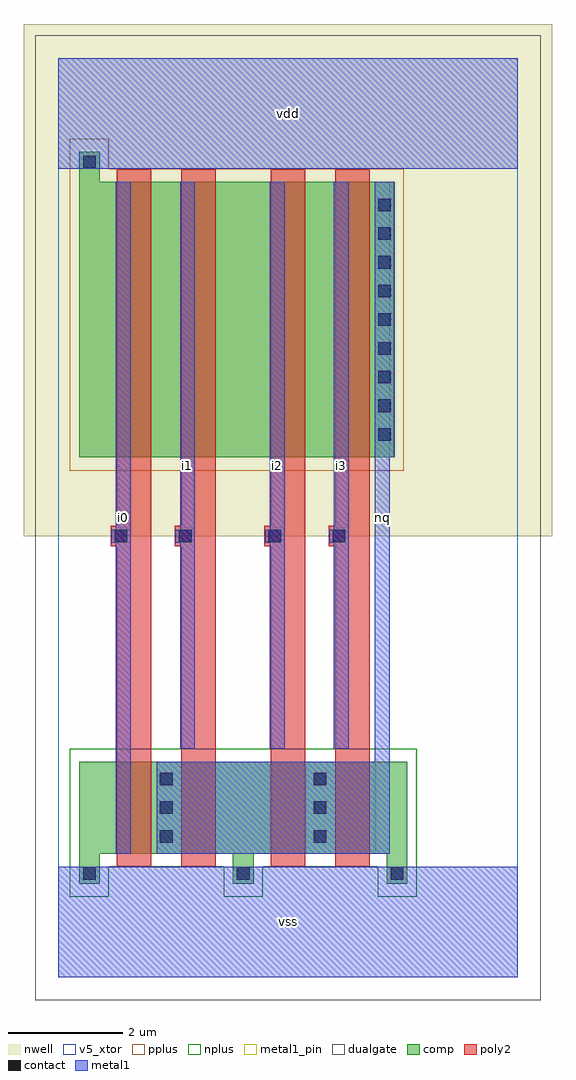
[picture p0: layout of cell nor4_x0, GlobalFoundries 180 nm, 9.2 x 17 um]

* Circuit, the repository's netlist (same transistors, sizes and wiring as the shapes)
* nor4_x0
.subckt nor4_x0 vdd vss nq i0 i1 i2 i3
Mn0 vss i0 nq vss nfet_06v0 l=0.6um w=1.6um
Mp0 vdd i0 int0 vdd pfet_06v0 l=0.6um w=4.8um
Mn1 nq i1 vss vss nfet_06v0 l=0.6um w=1.6um
Mp1 int0 i1 int1 vdd pfet_06v0 l=0.6um w=4.8um
Mn2 vss i2 nq vss nfet_06v0 l=0.6um w=1.6um
Mp2 int1 i2 int2 vdd pfet_06v0 l=0.6um w=4.8um
Mn3 nq i3 vss vss nfet_06v0 l=0.6um w=1.6um
Mp3 int2 i3 nq vdd pfet_06v0 l=0.6um w=4.8um
.ends nor4_x0

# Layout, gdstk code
import gdstk
lib = gdstk.Library(unit=1e-6, precision=1e-09)
def R(c, l, rs):  # rectangles x0, y0, x1, y1
    for r in rs: c.add(gdstk.rectangle(r[:2], r[2:], *l))
def A(c, l, x, y, w, h, nx, ny, dx, dy):  # array of equal rectangles
    R(c, l, [(x+i*dx, y+j*dy, x+i*dx+w, y+j*dy+h) for i in range(nx) for j in range(ny)])
def P(c, l, *ps):  # polygons
    for p in ps: c.add(gdstk.Polygon(p, *l))
nwell = (21, 0)
comp = (22, 0)
poly2 = (30, 0)
pplus = (31, 0)
nplus = (32, 0)
contact = (33, 0)
metal1 = (34, 0)
metal1_pin = (34, 10)
dualgate = (55, 0)
v5_xtor = (112, 1)

nor4_x0 = lib.new_cell('nor4_x0')
R(nor4_x0, nwell, [(-0.6,7.68,8.6,16.6)])
P(nor4_x0, comp, [(0.36,1.625),(0.36,3.75),(6.08,3.75),(6.08,1.625),(5.72,1.625),(5.72,2.15),(3.4,2.15),(3.4,1.625),(3.04,1.625),(3.04,2.15),(0.72,2.15),(0.72,1.625)],
  [(0.36,9.05),(0.36,14.375),(0.72,14.375),(0.72,13.85),(5.86,13.85),(5.86,9.05)])
P(nor4_x0, poly2, [(1.02,1.93),(1.02,7.5),(0.91,7.5),(0.91,7.86),(1.02,7.86),(1.02,14.07),(1.62,14.07),(1.62,1.93)],
  [(2.14,1.93),(2.14,7.5),(2.03,7.5),(2.03,7.86),(2.14,7.86),(2.14,14.07),(2.74,14.07),(2.74,1.93)],
  [(3.7,1.93),(3.7,7.5),(3.59,7.5),(3.59,7.86),(3.7,7.86),(3.7,14.07),(4.3,14.07),(4.3,1.93)],
  [(4.82,1.93),(4.82,7.5),(4.71,7.5),(4.71,7.86),(4.82,7.86),(4.82,14.07),(5.42,14.07),(5.42,1.93)])
P(nor4_x0, pplus, [(0.2,8.82),(0.2,14.605),(0.88,14.605),(0.88,14.08),(6.02,14.08),(6.02,8.82)])
P(nor4_x0, nplus, [(0.2,1.395),(0.2,3.98),(6.24,3.98),(6.24,1.395),(5.56,1.395),(5.56,1.92),(3.56,1.92),(3.56,1.395),(2.88,1.395),(2.88,1.92),(0.88,1.92),(0.88,1.395)])
A(nor4_x0, contact, 0.43, 1.695, 0.22, 0.22, 3, 1, 2.68, 0)
A(nor4_x0, contact, 1.77, 2.34, 0.22, 0.22, 1, 3, 0, 0.5)
A(nor4_x0, contact, 4.45, 2.34, 0.22, 0.22, 1, 3, 0, 0.5)
A(nor4_x0, contact, 5.57, 9.34, 0.22, 0.22, 1, 9, 0, 0.5)
R(nor4_x0, contact, [(0.98,7.57,1.2,7.79), (2.1,7.57,2.32,7.79), (3.66,7.57,3.88,7.79), (4.78,7.57,5,7.79), (0.43,14.085,0.65,14.305)])
R(nor4_x0, metal1, [(0,0,8,1.92), (0,14.08,8,16)])
P(nor4_x0, metal1, [(1.71,2.15),(1.71,3.75),(5.51,3.75),(5.51,13.85),(5.85,13.85),(5.85,9.05),(5.77,9.05),(5.77,2.15)],
  [(1,2.15),(1,7.565),(0.92,7.565),(0.92,7.795),(1,7.795),(1,13.85),(1.26,13.85),(1.26,2.15)],
  [(2.12,3.98),(2.12,7.565),(2.04,7.565),(2.04,7.795),(2.12,7.795),(2.12,13.85),(2.38,13.85),(2.38,3.98)],
  [(3.68,3.98),(3.68,7.565),(3.6,7.565),(3.6,7.795),(3.68,7.795),(3.68,13.85),(3.94,13.85),(3.94,3.98)],
  [(4.8,3.98),(4.8,7.565),(4.72,7.565),(4.72,7.795),(4.8,7.795),(4.8,13.85),(5.06,13.85),(5.06,3.98)])
R(nor4_x0, metal1_pin, [(0,0,8,1.92), (1,2.15,1.26,13.85), (5.51,2.15,5.77,13.85), (2.12,3.98,2.38,13.85), (3.68,3.98,3.94,13.85), (4.8,3.98,5.06,13.85), (0,14.08,8,16)])
R(nor4_x0, dualgate, [(-0.4,-0.4,8.4,16.4)])
R(nor4_x0, v5_xtor, [(-0.005,-0.005,8.005,16.005)])
nor4_x0.add(gdstk.Label('vss', (4,0.96), layer=34, texttype=10))
nor4_x0.add(gdstk.Label('vdd', (4,15.04), layer=34, texttype=10))
nor4_x0.add(gdstk.Label('nq', (5.64,8), layer=34, texttype=10))
nor4_x0.add(gdstk.Label('i0', (1.13,8), layer=34, texttype=10))
nor4_x0.add(gdstk.Label('i1', (2.25,8.915), layer=34, texttype=10))
nor4_x0.add(gdstk.Label('i2', (3.81,8.915), layer=34, texttype=10))
nor4_x0.add(gdstk.Label('i3', (4.93,8.915), layer=34, texttype=10))

lib.write_gds('nor4_x0.gds')
